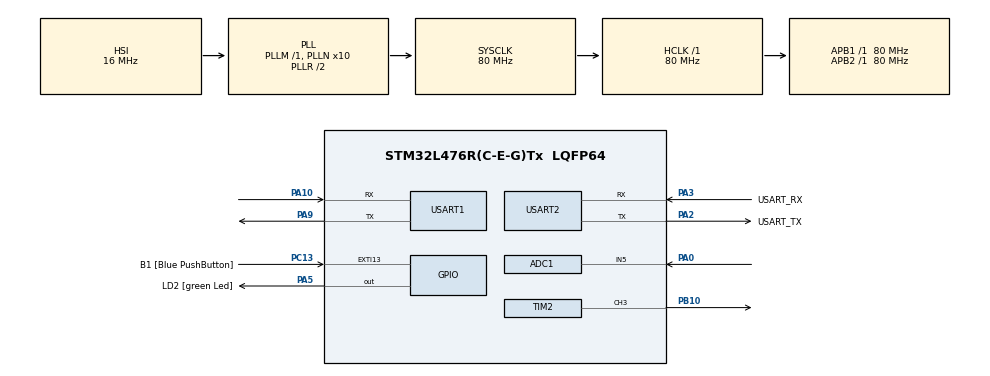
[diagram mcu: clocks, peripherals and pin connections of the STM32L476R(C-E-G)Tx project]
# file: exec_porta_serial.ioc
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ADC1.Channel-0\#ChannelRegularConversion=ADC_CHANNEL_5
ADC1.NbrOfConversionFlag=1
ADC1.OffsetNumber-0\#ChannelRegularConversion=ADC_OFFSET_NONE
ADC1.Rank-0\#ChannelRegularConversion=1
ADC1.SamplingTime-0\#ChannelRegularConversion=ADC_SAMPLETIME_2CYCLES_5
ADC1.master=1
FREERTOS.Tasks01=defaultTask,0,128,StartDefaultTask,Default,NULL,Dynamic,NULL,NULL
FREERTOS.configUSE_NEWLIB_REENTRANT=1
Mcu.Family=STM32L4
Mcu.Name=STM32L476R(C-E-G)Tx
Mcu.Package=LQFP64
NVIC.PriorityGroup=NVIC_PRIORITYGROUP_4
NVIC.TIM1_UP_TIM16_IRQn=true\:15\:0\:false\:false\:true\:false\:false\:true
NVIC.TimeBase=TIM1_UP_TIM16_IRQn
NVIC.TimeBaseIP=TIM1
NVIC.USART1_IRQn=true\:5\:0\:false\:false\:true\:true\:true\:true
NVIC.USART2_IRQn=true\:5\:0\:false\:false\:true\:true\:true\:true
PA0.Signal=ADCx_IN5
PA10.Mode=Asynchronous
PA10.Signal=USART1_RX
PA13\ (JTMS-SWDIO).GPIO_Label=TMS
PA13\ (JTMS-SWDIO).Mode=Serial_Wire
PA13\ (JTMS-SWDIO).Signal=SYS_JTMS-SWDIO
PA14\ (JTCK-SWCLK).GPIO_Label=TCK
PA14\ (JTCK-SWCLK).Mode=Serial_Wire
PA14\ (JTCK-SWCLK).Signal=SYS_JTCK-SWCLK
PA2.GPIO_Label=USART_TX
PA2.GPIO_Mode=GPIO_MODE_AF_PP
PA2.GPIO_PuPd=GPIO_NOPULL
PA2.GPIO_Speed=GPIO_SPEED_FREQ_VERY_HIGH
PA2.Mode=Asynchronous
PA2.Signal=USART2_TX
PA3.GPIO_Label=USART_RX
PA3.GPIO_Mode=GPIO_MODE_AF_PP
PA3.GPIO_PuPd=GPIO_NOPULL
PA3.GPIO_Speed=GPIO_SPEED_FREQ_VERY_HIGH
PA3.Mode=Asynchronous
PA3.Signal=USART2_RX
PA5.GPIO_Label=LD2 [green Led]
PA5.GPIO_ModeDefaultOutputPP=GPIO_MODE_OUTPUT_PP
PA5.GPIO_PuPd=GPIO_NOPULL
PA5.GPIO_Speed=GPIO_SPEED_FREQ_LOW
PA5.Signal=GPIO_Output
PA9.Mode=Asynchronous
PA9.Signal=USART1_TX
PB10.GPIO_Speed=GPIO_SPEED_FREQ_VERY_HIGH
PB10.Signal=S_TIM2_CH3
PB3\ (JTDO-TRACESWO).GPIO_Label=SWO
PB3\ (JTDO-TRACESWO).Signal=SYS_JTDO-SWO
PC13.GPIO_Label=B1 [Blue PushButton]
PC13.GPIO_ModeDefaultEXTI=GPIO_MODE_IT_FALLING
PC13.GPIO_PuPd=GPIO_NOPULL
PC13.Signal=GPXTI13
PC14-OSC32_IN\ (PC14).Mode=LSE-External-Oscillator
PC14-OSC32_IN\ (PC14).Signal=RCC_OSC32_IN
PC15-OSC32_OUT\ (PC15).Mode=LSE-External-Oscillator
PC15-OSC32_OUT\ (PC15).Signal=RCC_OSC32_OUT
PH0-OSC_IN\ (PH0).Signal=RCC_OSC_IN
PH1-OSC_OUT\ (PH1).Signal=RCC_OSC_OUT
ProjectManager.HeapSize=0x200
ProjectManager.StackSize=0x400
ProjectManager.TargetToolchain=STM32CubeIDE
RCC.ADCFreq_Value=64000000
RCC.AHBFreq_Value=80000000
RCC.APB1Freq_Value=80000000
RCC.APB1TimFreq_Value=80000000
RCC.APB2Freq_Value=80000000
RCC.APB2TimFreq_Value=80000000
RCC.CortexFreq_Value=80000000
RCC.HCLKFreq_Value=80000000
RCC.HSE_VALUE=8000000
RCC.HSI_VALUE=16000000
RCC.MSI_VALUE=4000000
RCC.PLLN=10
RCC.PLLSourceVirtual=RCC_PLLSOURCE_HSI
RCC.PREFETCH_ENABLE=1
RCC.SYSCLKFreq_VALUE=80000000
RCC.SYSCLKSource=RCC_SYSCLKSOURCE_PLLCLK
RCC.USBFreq_Value=64000000
RCC.VCOOutputFreq_Value=160000000
SH.ADCx_IN5.0=ADC1_IN5,IN5-Single-Ended
SH.S_TIM2_CH3.0=TIM2_CH3,PWM Generation3 CH3
TIM2.Channel-PWM\ Generation3\ CH3=TIM_CHANNEL_3
TIM2.Period=96
TIM2.Prescaler=127
TIM2.Pulse-PWM\ Generation3\ CH3=32
USART1.VirtualMode-Asynchronous=VM_ASYNC
USART2.VirtualMode-Asynchronous=VM_ASYNC
VP_FREERTOS_VS_CMSIS_V1.Mode=CMSIS_V1
VP_SYS_VS_tim1.Mode=TIM1
VP_TIM2_VS_ClockSourceINT.Mode=Internal
board=NUCLEO-L476RG

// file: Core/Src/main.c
/* USER CODE BEGIN Header */
/**
  ******************************************************************************
  * @file           : main.c
  * @brief          : Main program body
  ******************************************************************************
  * @attention
  *
  * <h2><center>&copy; Copyright (c) 2021 STMicroelectronics.
  * All rights reserved.</center></h2>
  *
  * This software component is licensed by ST under BSD 3-Clause license,
  * the "License"; You may not use this file except in compliance with the
  * License. You may obtain a copy of the License at:
  *                        opensource.org/licenses/BSD-3-Clause
  *
  ******************************************************************************
  */
/* USER CODE END Header */
#include "main.h"
#include "cmsis_os.h"

/* USER CODE BEGIN Includes */
#include <string.h>
#include <stdlib.h>
#include <stdio.h>
#include "printf.h"
#include <math.h>
/* USER CODE END Includes */

/* USER CODE BEGIN PTD */

volatile uint32_t toneVal = 0;

/* USER CODE END PTD */

ADC_HandleTypeDef hadc1;

TIM_HandleTypeDef htim2;

osThreadId defaultTaskHandle;

void SystemClock_Config(void);
static void MX_GPIO_Init(void);
static void MX_USART2_UART_Init(void);
static void MX_USART1_UART_Init(void);
static void MX_TIM2_Init(void);
static void MX_ADC1_Init(void);
void StartDefaultTask(void const * argument);

/* USER CODE BEGIN 0 */
//Tamanho das filas de transmissao e recepcao
//A fila de transmissao é maior do que a de recepcao por que a rotina de transmissao (write_string)
//pode enfileirar um numero maior de bytes de forma muito rapida
#define TX_QUEUE_SIZE 128
#define RX_QUEUE_SIZE 5
#define USART_1 1
#define USART_2 2

//Variaveis que irao armazenar os hanldes das filas de tranmissao e recepcao
QueueHandle_t tx_queue_1;
QueueHandle_t rx_queue_1;
QueueHandle_t tx_queue_2;
QueueHandle_t rx_queue_2;
SemaphoreHandle_t uart_1_mutex = NULL;
SemaphoreHandle_t uart_2_mutex = NULL;

void sendchar(char c, char usart){
	if(usart == USART_1){
		xQueueSend(tx_queue_1, &c, HAL_MAX_DELAY);
		LL_USART_EnableIT_TXE(USART1);
	}
	else if( usart == USART_2){
		xQueueSend(tx_queue_2, &c, HAL_MAX_DELAY);
		LL_USART_EnableIT_TXE(USART2);
	}
}

void sendString(char * str, char usart){
	while(*str != 0){
		sendchar(*str, usart);
		str++;
	}
}

char readchar(char usart){
	uint8_t caracter=0;
	if(usart == USART_1)
		xQueueReceive(rx_queue_1, &caracter, HAL_MAX_DELAY);
	else if(usart == USART_2)
		xQueueReceive(rx_queue_2, &caracter, HAL_MAX_DELAY);
	return caracter;
}

uint16_t readVoltage(void){
	HAL_ADC_Start(&hadc1);

	HAL_ADC_PollForConversion(&hadc1, HAL_MAX_DELAY);

	return HAL_ADC_GetValue(&hadc1);
}

void cli(void * vParam)
{
	uint8_t caracter;
	while(1)
	{
		xQueueReceive(rx_queue_1, &caracter, HAL_MAX_DELAY);
		if(caracter == 'l'){
			HAL_TIM_PWM_Start(&htim2, TIM_CHANNEL_3);

			for(float i = 0.000; i<= 1080; i += 0.03){
				toneVal = (uint32_t) (90 + (60 * sin (0.3 * i)));

				htim2.Instance->PSC = toneVal;

			}

			htim2.Instance->PSC = toneVal;

			HAL_TIM_PWM_Stop(&htim2, TIM_CHANNEL_3);
		}
	}
}

void cli2(void * vParam)
{
	uint8_t caracter;
	uint16_t temperatura_amb;
	char buff[8];
	while(1)
	{
		xQueueReceive(rx_queue_2, &caracter, HAL_MAX_DELAY);
		if(caracter == 'd'){
			HAL_TIM_PWM_Start(&htim2, TIM_CHANNEL_3);

			htim2.Instance->PSC = 0;

			HAL_TIM_PWM_Stop(&htim2, TIM_CHANNEL_3);
		}
		if(caracter == 'b' || caracter == 'B'){
			fflush(stdin);
			sprintf(buff, "%d\r\n", 1);
			sendString(buff, USART_1);
		}
		if(caracter == 't' || caracter == 'T'){
			temperatura_amb = readVoltage();
			temperatura_amb = temperatura_amb / 27.47;
			fflush(stdin);
			sprintf(buff, "temp_amb: %d\r\n", temperatura_amb);
			sendString(buff, USART_2);
		}

	}
}

//void cli(void * vParam)
//{
//	uint8_t caracter;
//	while(1)
//	{
//		caracter = readchar(USART_2);
//		if(caracter == 'h' || caracter == 'H'){
//			sendString("Teste Serial\r\n", USART_1);
//		}
//	}
//}

//IMPORTANTE: Esta taska deve ser removida no projeto final
void usart_1_fcn(void * vParam){
	char c;
	while(1){
		c = readchar(USART_1);
		if( c != 0){
			sendchar(c, USART_2);
		}
	}
}
//Rotina de tratamento de interrupcao da USART2
void USART_2_IRQHandler(void)
{
	//Se for interrupcao de transmissao
    if (LL_USART_IsActiveFlag_TXE(USART2)) {
        BaseType_t contextSwitch;

        while (LL_USART_IsActiveFlag_TXE(USART2)) {
            uint8_t byte;
            //Desinfileira um byte para tranmistir
            if (xQueueReceiveFromISR(tx_queue_2, &byte, &contextSwitch) == pdFAIL) {
            	//Se a fila de transmissao esta vazia, encerra a transmissao
                LL_USART_DisableIT_TXE(USART2);
                break;
            }
            //Envia o byte retirado da fila de transmisao
            LL_USART_TransmitData8(USART2, byte);
        }
        portYIELD_FROM_ISR(contextSwitch);
    }

    //Se for interrupcao de recepcao
    if (LL_USART_IsActiveFlag_RXNE(USART2)) {
        BaseType_t contextSwitch;

        while (LL_USART_IsActiveFlag_RXNE(USART2)) {
        	//Copia o byte do regstrador de recepcao
        	uint8_t byte =
                LL_USART_ReceiveData8(USART2);
        	//Enfileira o byte recebido na fila de recepcao
            xQueueSendFromISR(rx_queue_2, &byte, &contextSwitch);
            // xQueueSendFromISR can return errQUEUE_FULL
        }
        portYIELD_FROM_ISR(contextSwitch);
    }
}

void USART_1_IRQHandler(void)
{
	//Se for interrupcao de transmissao
    if (LL_USART_IsActiveFlag_TXE(USART1)) {
        BaseType_t contextSwitch;

        while (LL_USART_IsActiveFlag_TXE(USART1)) {
            uint8_t byte;
            //Desinfileira um byte para tranmistir
            if (xQueueReceiveFromISR(tx_queue_1, &byte, &contextSwitch) == pdFAIL) {
            	//Se a fila de transmissao esta vazia, encerra a transmissao
                LL_USART_DisableIT_TXE(USART1);
                break;
            }
            //Envia o byte retirado da fila de transmisao
            LL_USART_TransmitData8(USART1, byte);
        }
        portYIELD_FROM_ISR(contextSwitch);
    }

    //Se for interrupcao de recepcao
    if (LL_USART_IsActiveFlag_RXNE(USART1)) {
        BaseType_t contextSwitch;

        while (LL_USART_IsActiveFlag_RXNE(USART1)) {
        	//Copia o byte do regstrador de recepcao
        	uint8_t byte =
                LL_USART_ReceiveData8(USART1);
        	//Enfileira o byte recebido na fila de recepcao
            xQueueSendFromISR(rx_queue_1, &byte, &contextSwitch);
            // xQueueSendFromISR can return errQUEUE_FULL
        }
        portYIELD_FROM_ISR(contextSwitch);
    }
}
/* USER CODE END 0 */

int main(void)
{

  /* MCU Configuration--------------------------------------------------------*/

  /* Reset of all peripherals, Initializes the Flash interface and the Systick. */
  HAL_Init();

  /* Configure the system clock */
  SystemClock_Config();

  /* Initialize all configured peripherals */
  MX_GPIO_Init();
  MX_USART2_UART_Init();
  MX_USART1_UART_Init();
  MX_TIM2_Init();
  MX_ADC1_Init();
  /* USER CODE BEGIN 2 */
  uart_1_mutex = xSemaphoreCreateMutex();
  uart_2_mutex = xSemaphoreCreateMutex();
  /* USER CODE END 2 */

  /* Create the thread(s) */
  /* definition and creation of defaultTask */
  osThreadDef(defaultTask, StartDefaultTask, osPriorityNormal, 0, 128);
  defaultTaskHandle = osThreadCreate(osThread(defaultTask), NULL);

  /* USER CODE BEGIN RTOS_THREADS */
  xTaskCreate(cli,    /* Nome da funcao que contem a task */
  		  	  "cli",     /* Nome descritivo */
			  configMINIMAL_STACK_SIZE,   /* tamanho da pilha da task */
			  NULL,       /* parametro para a task */
			  1,          /* nivel de prioridade */
			  NULL);      /* ponteiro para o handle da task */

  xTaskCreate(cli2,    /* Nome da funcao que contem a task */
  		  	  "cli2",     /* Nome descritivo */
			  configMINIMAL_STACK_SIZE,   /* tamanho da pilha da task */
			  NULL,       /* parametro para a task */
			  1,          /* nivel de prioridade */
			  NULL);      /* ponteiro para o handle da task */

  //IMPORTANTE: Esta taska deve ser removida no projeto final
  xTaskCreate(usart_1_fcn,    /* Nome da funcao que contem a task */
  		  	  "usart1fcn",     /* Nome descritivo */
			  configMINIMAL_STACK_SIZE,   /* tamanho da pilha da task */
			  NULL,       /* parametro para a task */
			  1,          /* nivel de prioridade */
			  NULL);      /* ponteiro para o handle da task */
  /* USER CODE END RTOS_THREADS */

  /* Start scheduler */
  osKernelStart();

  /* We should never get here as control is now taken by the scheduler */
  /* Infinite loop */
  while (1)
  {

  }
}

void SystemClock_Config(void)
{
  RCC_OscInitTypeDef RCC_OscInitStruct = {0};
  RCC_ClkInitTypeDef RCC_ClkInitStruct = {0};

  /** Configure the main internal regulator output voltage
  */
  if (HAL_PWREx_ControlVoltageScaling(PWR_REGULATOR_VOLTAGE_SCALE1) != HAL_OK)
  {
    Error_Handler();
  }
  /** Initializes the RCC Oscillators according to the specified parameters
  * in the RCC_OscInitTypeDef structure.
  */
  RCC_OscInitStruct.OscillatorType = RCC_OSCILLATORTYPE_HSI;
  RCC_OscInitStruct.HSIState = RCC_HSI_ON;
  RCC_OscInitStruct.HSICalibrationValue = RCC_HSICALIBRATION_DEFAULT;
  RCC_OscInitStruct.PLL.PLLState = RCC_PLL_ON;
  RCC_OscInitStruct.PLL.PLLSource = RCC_PLLSOURCE_HSI;
  RCC_OscInitStruct.PLL.PLLM = 1;
  RCC_OscInitStruct.PLL.PLLN = 10;
  RCC_OscInitStruct.PLL.PLLP = RCC_PLLP_DIV7;
  RCC_OscInitStruct.PLL.PLLQ = RCC_PLLQ_DIV2;
  RCC_OscInitStruct.PLL.PLLR = RCC_PLLR_DIV2;
  if (HAL_RCC_OscConfig(&RCC_OscInitStruct) != HAL_OK)
  {
    Error_Handler();
  }
  /** Initializes the CPU, AHB and APB buses clocks
  */
  RCC_ClkInitStruct.ClockType = RCC_CLOCKTYPE_HCLK|RCC_CLOCKTYPE_SYSCLK
                              |RCC_CLOCKTYPE_PCLK1|RCC_CLOCKTYPE_PCLK2;
  RCC_ClkInitStruct.SYSCLKSource = RCC_SYSCLKSOURCE_PLLCLK;
  RCC_ClkInitStruct.AHBCLKDivider = RCC_SYSCLK_DIV1;
  RCC_ClkInitStruct.APB1CLKDivider = RCC_HCLK_DIV1;
  RCC_ClkInitStruct.APB2CLKDivider = RCC_HCLK_DIV1;

  if (HAL_RCC_ClockConfig(&RCC_ClkInitStruct, FLASH_LATENCY_4) != HAL_OK)
  {
    Error_Handler();
  }
}

static void MX_ADC1_Init(void)
{

  ADC_MultiModeTypeDef multimode = {0};
  ADC_ChannelConfTypeDef sConfig = {0};

  /** Common config
  */
  hadc1.Instance = ADC1;
  hadc1.Init.ClockPrescaler = ADC_CLOCK_ASYNC_DIV1;
  hadc1.Init.Resolution = ADC_RESOLUTION_12B;
  hadc1.Init.DataAlign = ADC_DATAALIGN_RIGHT;
  hadc1.Init.ScanConvMode = ADC_SCAN_DISABLE;
  hadc1.Init.EOCSelection = ADC_EOC_SINGLE_CONV;
  hadc1.Init.LowPowerAutoWait = DISABLE;
  hadc1.Init.ContinuousConvMode = DISABLE;
  hadc1.Init.NbrOfConversion = 1;
  hadc1.Init.DiscontinuousConvMode = DISABLE;
  hadc1.Init.ExternalTrigConv = ADC_SOFTWARE_START;
  hadc1.Init.ExternalTrigConvEdge = ADC_EXTERNALTRIGCONVEDGE_NONE;
  hadc1.Init.DMAContinuousRequests = DISABLE;
  hadc1.Init.Overrun = ADC_OVR_DATA_PRESERVED;
  hadc1.Init.OversamplingMode = DISABLE;
  if (HAL_ADC_Init(&hadc1) != HAL_OK)
  {
    Error_Handler();
  }
  /** Configure the ADC multi-mode
  */
  multimode.Mode = ADC_MODE_INDEPENDENT;
  if (HAL_ADCEx_MultiModeConfigChannel(&hadc1, &multimode) != HAL_OK)
  {
    Error_Handler();
  }
  /** Configure Regular Channel
  */
  sConfig.Channel = ADC_CHANNEL_5;
  sConfig.Rank = ADC_REGULAR_RANK_1;
  sConfig.SamplingTime = ADC_SAMPLETIME_2CYCLES_5;
  sConfig.SingleDiff = ADC_SINGLE_ENDED;
  sConfig.OffsetNumber = ADC_OFFSET_NONE;
  sConfig.Offset = 0;
  if (HAL_ADC_ConfigChannel(&hadc1, &sConfig) != HAL_OK)
  {
    Error_Handler();
  }

}

static void MX_TIM2_Init(void)
{

  TIM_ClockConfigTypeDef sClockSourceConfig = {0};
  TIM_MasterConfigTypeDef sMasterConfig = {0};
  TIM_OC_InitTypeDef sConfigOC = {0};

  htim2.Instance = TIM2;
  htim2.Init.Prescaler = 127;
  htim2.Init.CounterMode = TIM_COUNTERMODE_UP;
  htim2.Init.Period = 96;
  htim2.Init.ClockDivision = TIM_CLOCKDIVISION_DIV1;
  htim2.Init.AutoReloadPreload = TIM_AUTORELOAD_PRELOAD_DISABLE;
  if (HAL_TIM_Base_Init(&htim2) != HAL_OK)
  {
    Error_Handler();
  }
  sClockSourceConfig.ClockSource = TIM_CLOCKSOURCE_INTERNAL;
  if (HAL_TIM_ConfigClockSource(&htim2, &sClockSourceConfig) != HAL_OK)
  {
    Error_Handler();
  }
  if (HAL_TIM_PWM_Init(&htim2) != HAL_OK)
  {
    Error_Handler();
  }
  sMasterConfig.MasterOutputTrigger = TIM_TRGO_RESET;
  sMasterConfig.MasterSlaveMode = TIM_MASTERSLAVEMODE_DISABLE;
  if (HAL_TIMEx_MasterConfigSynchronization(&htim2, &sMasterConfig) != HAL_OK)
  {
    Error_Handler();
  }
  sConfigOC.OCMode = TIM_OCMODE_PWM1;
  sConfigOC.Pulse = 32;
  sConfigOC.OCPolarity = TIM_OCPOLARITY_HIGH;
  sConfigOC.OCFastMode = TIM_OCFAST_DISABLE;
  if (HAL_TIM_PWM_ConfigChannel(&htim2, &sConfigOC, TIM_CHANNEL_3) != HAL_OK)
  {
    Error_Handler();
  }
  HAL_TIM_MspPostInit(&htim2);

}

static void MX_USART1_UART_Init(void)
{

  LL_USART_InitTypeDef USART_InitStruct = {0};

  LL_GPIO_InitTypeDef GPIO_InitStruct = {0};
  RCC_PeriphCLKInitTypeDef PeriphClkInit = {0};

  /** Initializes the peripherals clock
  */
  PeriphClkInit.PeriphClockSelection = RCC_PERIPHCLK_USART1;
  PeriphClkInit.Usart1ClockSelection = RCC_USART1CLKSOURCE_PCLK2;
  if (HAL_RCCEx_PeriphCLKConfig(&PeriphClkInit) != HAL_OK)
  {
    Error_Handler();
  }

  /* Peripheral clock enable */
  LL_APB2_GRP1_EnableClock(LL_APB2_GRP1_PERIPH_USART1);

  LL_AHB2_GRP1_EnableClock(LL_AHB2_GRP1_PERIPH_GPIOA);
  /**USART1 GPIO Configuration
  PA9   ------> USART1_TX
  PA10   ------> USART1_RX
  */
  GPIO_InitStruct.Pin = LL_GPIO_PIN_9|LL_GPIO_PIN_10;
  GPIO_InitStruct.Mode = LL_GPIO_MODE_ALTERNATE;
  GPIO_InitStruct.Speed = LL_GPIO_SPEED_FREQ_VERY_HIGH;
  GPIO_InitStruct.OutputType = LL_GPIO_OUTPUT_PUSHPULL;
  GPIO_InitStruct.Pull = LL_GPIO_PULL_NO;
  GPIO_InitStruct.Alternate = LL_GPIO_AF_7;
  LL_GPIO_Init(GPIOA, &GPIO_InitStruct);

  /* USART1 interrupt Init */
  NVIC_SetPriority(USART1_IRQn, NVIC_EncodePriority(NVIC_GetPriorityGrouping(),5, 0));
  NVIC_EnableIRQ(USART1_IRQn);

  USART_InitStruct.BaudRate = 115200;
  USART_InitStruct.DataWidth = LL_USART_DATAWIDTH_8B;
  USART_InitStruct.StopBits = LL_USART_STOPBITS_1;
  USART_InitStruct.Parity = LL_USART_PARITY_NONE;
  USART_InitStruct.TransferDirection = LL_USART_DIRECTION_TX_RX;
  USART_InitStruct.HardwareFlowControl = LL_USART_HWCONTROL_NONE;
  USART_InitStruct.OverSampling = LL_USART_OVERSAMPLING_16;
  LL_USART_Init(USART1, &USART_InitStruct);
  LL_USART_ConfigAsyncMode(USART1);
  LL_USART_Enable(USART1);
  /* USER CODE BEGIN USART1_Init 2 */
  //Inicializa as filas de transmissao e recepcao
   tx_queue_1 = xQueueCreate(TX_QUEUE_SIZE, sizeof(uint8_t));
   rx_queue_1 = xQueueCreate(RX_QUEUE_SIZE, sizeof(uint8_t));
   //Habilita a interrupcao de recepcao pela USART2
   LL_USART_EnableIT_RXNE(USART1);
  /* USER CODE END USART1_Init 2 */

}

static void MX_USART2_UART_Init(void)
{

  LL_USART_InitTypeDef USART_InitStruct = {0};

  LL_GPIO_InitTypeDef GPIO_InitStruct = {0};
  RCC_PeriphCLKInitTypeDef PeriphClkInit = {0};

  /** Initializes the peripherals clock
  */
  PeriphClkInit.PeriphClockSelection = RCC_PERIPHCLK_USART2;
  PeriphClkInit.Usart2ClockSelection = RCC_USART2CLKSOURCE_PCLK1;
  if (HAL_RCCEx_PeriphCLKConfig(&PeriphClkInit) != HAL_OK)
  {
    Error_Handler();
  }

  /* Peripheral clock enable */
  LL_APB1_GRP1_EnableClock(LL_APB1_GRP1_PERIPH_USART2);

  LL_AHB2_GRP1_EnableClock(LL_AHB2_GRP1_PERIPH_GPIOA);
  /**USART2 GPIO Configuration
  PA2   ------> USART2_TX
  PA3   ------> USART2_RX
  */
  GPIO_InitStruct.Pin = LL_GPIO_PIN_2|LL_GPIO_PIN_3;
  GPIO_InitStruct.Mode = LL_GPIO_MODE_ALTERNATE;
  GPIO_InitStruct.Speed = LL_GPIO_SPEED_FREQ_VERY_HIGH;
  GPIO_InitStruct.OutputType = LL_GPIO_OUTPUT_PUSHPULL;
  GPIO_InitStruct.Pull = LL_GPIO_PULL_NO;
  GPIO_InitStruct.Alternate = LL_GPIO_AF_7;
  LL_GPIO_Init(GPIOA, &GPIO_InitStruct);

  /* USART2 interrupt Init */
  NVIC_SetPriority(USART2_IRQn, NVIC_EncodePriority(NVIC_GetPriorityGrouping(),5, 0));
  NVIC_EnableIRQ(USART2_IRQn);

  USART_InitStruct.BaudRate = 115200;
  USART_InitStruct.DataWidth = LL_USART_DATAWIDTH_8B;
  USART_InitStruct.StopBits = LL_USART_STOPBITS_1;
  USART_InitStruct.Parity = LL_USART_PARITY_NONE;
  USART_InitStruct.TransferDirection = LL_USART_DIRECTION_TX_RX;
  USART_InitStruct.HardwareFlowControl = LL_USART_HWCONTROL_NONE;
  USART_InitStruct.OverSampling = LL_USART_OVERSAMPLING_16;
  LL_USART_Init(USART2, &USART_InitStruct);
  LL_USART_ConfigAsyncMode(USART2);
  LL_USART_Enable(USART2);
  /* USER CODE BEGIN USART2_Init 2 */
  //Inicializa as filas de transmissao e recepcao
   tx_queue_2 = xQueueCreate(TX_QUEUE_SIZE, sizeof(uint8_t));
   rx_queue_2 = xQueueCreate(RX_QUEUE_SIZE, sizeof(uint8_t));
   //Habilita a interrupcao de recepcao pela USART2
   LL_USART_EnableIT_RXNE(USART2);
  /* USER CODE END USART2_Init 2 */

}

static void MX_GPIO_Init(void)
{
  GPIO_InitTypeDef GPIO_InitStruct = {0};

  /* GPIO Ports Clock Enable */
  __HAL_RCC_GPIOC_CLK_ENABLE();
  __HAL_RCC_GPIOH_CLK_ENABLE();
  __HAL_RCC_GPIOA_CLK_ENABLE();
  __HAL_RCC_GPIOB_CLK_ENABLE();

  /*Configure GPIO pin Output Level */
  HAL_GPIO_WritePin(LD2_GPIO_Port, LD2_Pin, GPIO_PIN_RESET);

  /*Configure GPIO pin : B1_Pin */
  GPIO_InitStruct.Pin = B1_Pin;
  GPIO_InitStruct.Mode = GPIO_MODE_IT_FALLING;
  GPIO_InitStruct.Pull = GPIO_NOPULL;
  HAL_GPIO_Init(B1_GPIO_Port, &GPIO_InitStruct);

  /*Configure GPIO pin : LD2_Pin */
  GPIO_InitStruct.Pin = LD2_Pin;
  GPIO_InitStruct.Mode = GPIO_MODE_OUTPUT_PP;
  GPIO_InitStruct.Pull = GPIO_NOPULL;
  GPIO_InitStruct.Speed = GPIO_SPEED_FREQ_LOW;
  HAL_GPIO_Init(LD2_GPIO_Port, &GPIO_InitStruct);

}

void StartDefaultTask(void const * argument)
{
  for(;;)
  {
    osDelay(1);
  }
}

void HAL_TIM_PeriodElapsedCallback(TIM_HandleTypeDef *htim)
{
  if (htim->Instance == TIM1) {
    HAL_IncTick();
  }
}

void Error_Handler(void)
{
  __disable_irq();
  while (1)
  {
  }
}

/************************ (C) COPYRIGHT STMicroelectronics *****END OF FILE****/
